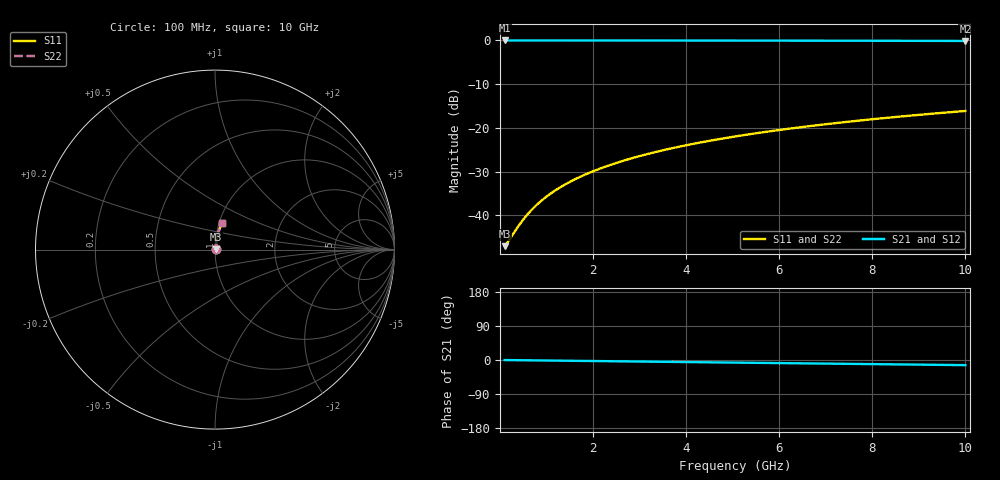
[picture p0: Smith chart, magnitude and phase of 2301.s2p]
# Hz S RI R 50.00
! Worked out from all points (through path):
!   100 points, 100 MHz to 10 GHz, reference 50 ohm
!   highest |S21| = -0.04 dB at 100 MHz (marker M1); lowest = -0.1 dB at 10 GHz (marker M2)
!   group delay of S21, straight-line fit = 3.77 ps
!   lowest |S11| = -47.0 dB at 100 MHz (marker M3), VSWR 1.01, Z = 50.4 + j0.158 ohm
!   |S11| at or under -10 dB: start of sweep to end of sweep
!   |S22| runs from -47.0 to -16.1 dB; largest |S21 - S12| = 0
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1e8  0.00416 0.00157  0.9958 -0.00237  0.9958 -0.00237  0.00416 0.00157
2e8  0.0042 0.00314  0.9958 -0.00473  0.9958 -0.00473  0.0042 0.00314
4e8  0.00428 0.00628  0.9957 -0.00947  0.9957 -0.00947  0.00428 0.00628
5e8  0.00432 0.00785  0.9957 -0.0118  0.9957 -0.0118  0.00432 0.00785
6e8  0.00438 0.00942  0.9956 -0.0142  0.9956 -0.0142  0.00438 0.00942
7e8  0.00444 0.011  0.9955 -0.0166  0.9955 -0.0166  0.00444 0.011
8e8  0.0045 0.0126  0.9955 -0.0189  0.9955 -0.0189  0.0045 0.0126
1e9  0.00466 0.0157  0.9953 -0.0237  0.9953 -0.0237  0.00466 0.0157
1.2e9  0.00484 0.0188  0.9951 -0.0284  0.9951 -0.0284  0.00484 0.0188
1.5e9  0.00516 0.0235  0.9948 -0.0355  0.9948 -0.0355  0.00516 0.0235
1.8e9  0.00555 0.0282  0.9943 -0.0426  0.9943 -0.0426  0.00555 0.0282
2.1e9  0.006 0.0329  0.9938 -0.0496  0.9938 -0.0496  0.006 0.0329
2.5e9  0.0067 0.0391  0.9931 -0.0591  0.9931 -0.0591  0.0067 0.0391
2.9e9  0.00752 0.0453  0.9922 -0.0685  0.9922 -0.0685  0.00752 0.0453
3.4e9  0.00872 0.0531  0.9909 -0.0802  0.9909 -0.0802  0.00872 0.0531
4.2e9  0.011 0.0654  0.9884 -0.0989  0.9884 -0.0989  0.011 0.0654
5.1e9  0.0141 0.0791  0.985 -0.1199  0.985 -0.1199  0.0141 0.0791
5.9e9  0.0174 0.0912  0.9815 -0.1383  0.9815 -0.1383  0.0174 0.0912
6.7e9  0.0211 0.1031  0.9774 -0.1567  0.9774 -0.1567  0.0211 0.1031
7.5e9  0.0252 0.1149  0.9729 -0.1748  0.9729 -0.1748  0.0252 0.1149
8.4e9  0.0304 0.1279  0.9673 -0.1951  0.9673 -0.1951  0.0304 0.1279
1e10  0.0409 0.1503  0.9558 -0.2304  0.9558 -0.2304  0.0409 0.1503
